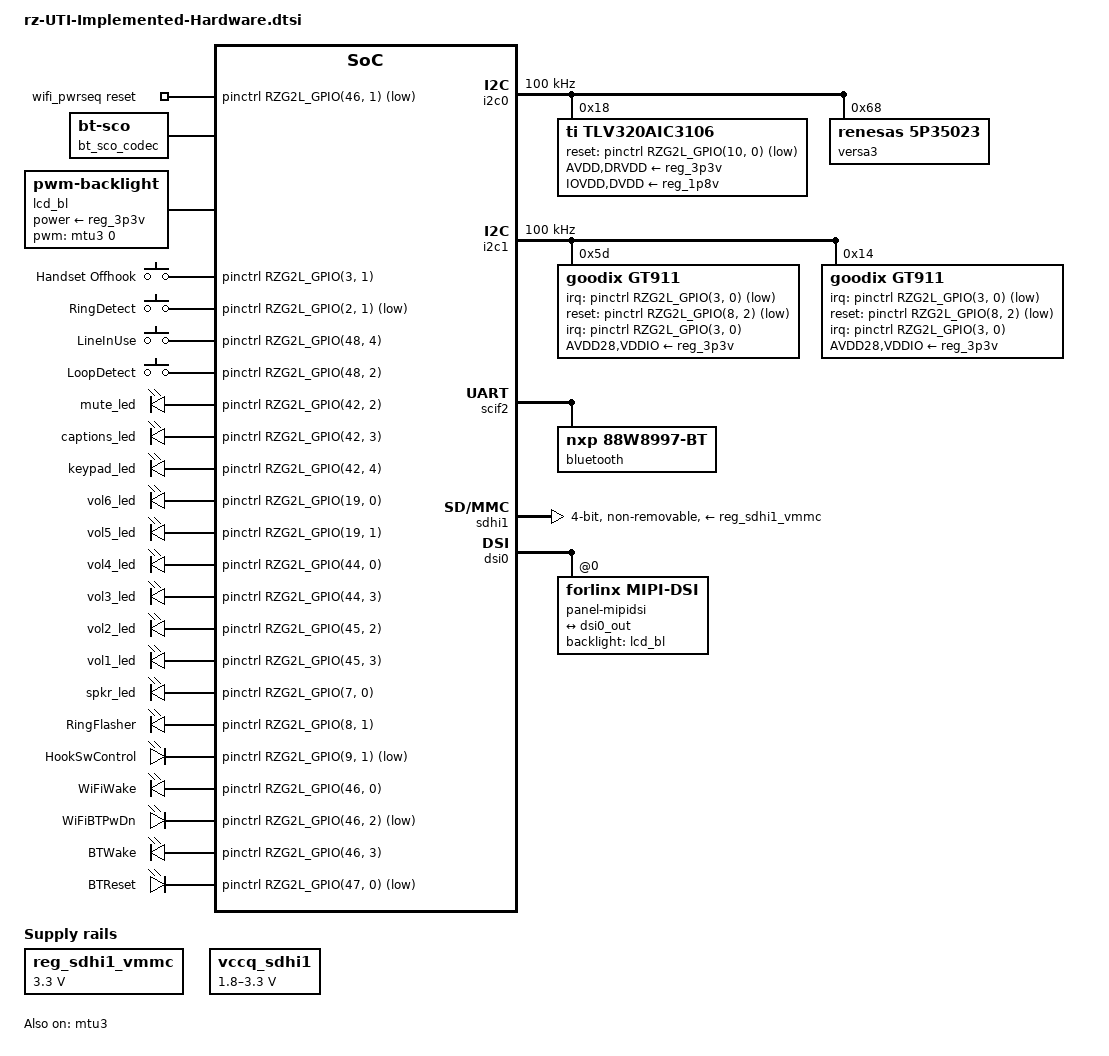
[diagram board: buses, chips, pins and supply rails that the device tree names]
// SPDX-License-Identifier: (GPL-2.0-only OR BSD-2-Clause)
/*
 * Device Tree Source for the RZ/{G2L,G2LC,V2L} SMARC EVK common parts
 *
 * Copyright (C) 2022 Renesas Electronics Corp.
 */

#include <dt-bindings/gpio/gpio.h>
#include <dt-bindings/pinctrl/rzg2l-pinctrl.h>


/ {
	aliases {
		serial0 = &scif0;
		i2c0 = &i2c0;
		i2c1 = &i2c1;
		i2c3 = &i2c3;
		mmc0 = &sdhi0;
		mmc1 = &sdhi1;
		dsi0 = &dsi0;
		du = &du;
		reg_1p8v = &reg_1p8v;
		reg_3p3v = &reg_3p3v;
	};

	chosen {
		stdout-path = "serial0:115200n8";
	};
	
	reg_sdhi1_vmmc: regulator-sdhi1 {
		compatible = "regulator-fixed";
		regulator-name = "WLAN_EN";
		regulator-min-microvolt = <3300000>;
		regulator-max-microvolt = <3300000>;
		//gpio = <&pinctrl RZG2L_GPIO(46, 0) GPIO_ACTIVE_HIGH>; // WiFi Wake 
		//enable-active-high;
		regulator-boot-on;
		regulator-always-on;
	};	
	
	wifi_pwrseq: wifi-pwrseq {
		compatible = "mmc-pwrseq-simple";
		pinctrl-names = "default";
		reset-gpios = <&pinctrl RZG2L_GPIO(46, 1) GPIO_ACTIVE_LOW>; // WiFi reset 
		post-power-on-delay-ms = <200>;
	};
	
	bt_sco_codec: bt_sco_codec {
		#sound-dai-cells = <1>;
		compatible = "linux,bt-sco";
	};
	
	sound-bt-sco {
		compatible = "simple-audio-card";
		simple-audio-card,name = "bt-sco-audio";
		simple-audio-card,format = "i2s";
		simple-audio-card,bitclock-inversion;
		simple-audio-card,frame-master = <&btcpu>;
		simple-audio-card,bitclock-master = <&btcpu>;

		btcpu: simple-audio-card,cpu {
			sound-dai = <&ssi1>;
			dai-tdm-slot-num = <2>;
			dai-tdm-slot-width = <16>;
			system-clock-frequency = <12288000>;
		};

		simple-audio-card,codec {
			sound-dai = <&bt_sco_codec 1>;
			system-clock-frequency = <12288000>;
		};
	};
	
	x1_clk: x1-clock {
		compatible = "fixed-clock";
		#clock-cells = <0>;
		clock-frequency = <24000000>;
	};
	
	/*lcd_bl: backlight {
		compatible = "gpio-backlight";
		gpios = <&pinctrl RZG2L_GPIO(9, 0) GPIO_ACTIVE_HIGH>;
		default-on;
	};*/
	
        lcd_bl: backlight {
		compatible = "pwm-backlight";
		pwms = <&mtu3 0 1200>;
		brightness-levels = <0 50 70 90 110 130 150 170 190 210 255>;
		default-brightness-level = <10>;
		power-supply = <&reg_3p3v>;
	};

/*
	gpio_keys { //this is for input GPIOs only
		compatible = "gpio-keys";
		#address-cells = <1>;
		#size-cells = <0>;
		pinctrl-0 = <&GPIO_Keys_IRQ_Pins>;
		autorepeat;
		
		HookSwitch {
			label = "Handset Offhook";
			linux,code = <0x07>;
			//wakeup-source;
            		//interrupt-parent = <&intc_ex>;
            		//gpios = <&pinctrl RZG2L_GPIO(3, 1) (GPIO_ACTIVE_LOW | GPIO_PULL_UP)>;
            		//irq-gpios = <&pinctrl RZG2L_GPIO(3, 1) (GPIO_ACTIVE_LOW | GPIO_PULL_UP)>;
            		//interrupts = <7 IRQ_TYPE_EDGE_BOTH>;
            		//linux,input-type = <5>; //EV_SW
			debounce-interval = <10>; 
		};	
		
		RingDetect {
			label = "RingDetect"; 
			linux,code = <0x08>;
			wakeup-source;
            		interrupt-parent = <&intc_ex>;
            		//gpios = <&pinctrl RZG2L_GPIO(2, 1) GPIO_ACTIVE_LOW>;
            		//irq-gpios = <&pinctrl RZG2L_GPIO(2, 1) GPIO_ACTIVE_LOW>;
            		interrupts = <5 IRQ_TYPE_EDGE_BOTH>;
            		//linux,input-type = <5>; //EV_SW
			debounce-interval = <1>;
		};
	};
	*/
	
	gpio_keys_polled { //this is for input GPIOs only
		compatible = "gpio-keys-polled";
		#address-cells = <1>;
		#size-cells = <0>;
		poll-interval = <1>; //milliseconds
		autorepeat;	
		
		HookSwitch {
			label = "Handset Offhook";
			linux,code = <0x07>;
			//wakeup-source;
            		//interrupt-parent = <&intc_ex>;
            		gpios = <&pinctrl RZG2L_GPIO(3, 1) (GPIO_ACTIVE_HIGH | GPIO_PULL_UP)>;
            		//irq-gpios = <&pinctrl RZG2L_GPIO(3, 1) (GPIO_ACTIVE_LOW | GPIO_PULL_UP)>;
            		//interrupts = <7 IRQ_TYPE_EDGE_BOTH>;
            		linux,input-type = <5>; //EV_SW
			debounce-interval = <10>; 
		};	
		
		RingDetect {
			label = "RingDetect"; 
			linux,code = <0x08>;
			//wakeup-source;
            		//interrupt-parent = <&intc_ex>;
            		gpios = <&pinctrl RZG2L_GPIO(2, 1) GPIO_ACTIVE_LOW>;
            		//irq-gpios = <&pinctrl RZG2L_GPIO(2, 1) GPIO_ACTIVE_LOW>;
            		//interrupts = <5 IRQ_TYPE_EDGE_BOTH>;
            		linux,input-type = <5>; //EV_SW
			debounce-interval = <1>;
		};
		
		LineInUse {
			label = "LineInUse"; 
			//linux,code = <0x90>;
			linux,code = <0x09>;
			//debounce-interval = <1>;
			linux,input-type = <5>; //EV_SW
			gpios = <&pinctrl RZG2L_GPIO(48, 4) GPIO_ACTIVE_HIGH>;
		};
		
		LoopDetect {
			label = "LoopDetect"; 
			//linux,code = <0x92>;
			linux,code = <0x0A>;
			//debounce-interval = <1>;
			linux,input-type = <5>; //EV_SW
			gpios = <&pinctrl RZG2L_GPIO(48, 2) GPIO_ACTIVE_HIGH>;
		};
	};
		
	/*
	matrix_keypad: matrix_keypad0 {
		compatible = "gpio-matrix-keypad";  
		debounce-delay-ms = <5>;
		col-scan-delay-us = <2>;
		//interrupt-parent = <&pinctrl>;
		interrupt-parent = <&intc_ex>;
		//pinctrl-names = "default";
		
		pinctrl-0 = <&keyboard_pins>;

		//gpio-activelow;
		//linux,wakeup;

		row-gpios = <	&pinctrl RZG2L_GPIO(0, 0) GPIO_ACTIVE_LOW
				&pinctrl RZG2L_GPIO(0, 1) GPIO_ACTIVE_LOW 
				&pinctrl RZG2L_GPIO(1, 0) GPIO_ACTIVE_LOW
				&pinctrl RZG2L_GPIO(1, 1) GPIO_ACTIVE_LOW
				&pinctrl RZG2L_GPIO(2, 0) GPIO_ACTIVE_LOW>;

		col-gpios = <	&pinctrl RZG2L_GPIO(12, 1) GPIO_ACTIVE_HIGH 
				&pinctrl RZG2L_GPIO(13, 0) GPIO_ACTIVE_HIGH 
				&pinctrl RZG2L_GPIO(13, 1) GPIO_ACTIVE_HIGH 
				&pinctrl RZG2L_GPIO(13, 2) GPIO_ACTIVE_HIGH>;			

		linux,keymap = <0x0000009A      // VOL UP /
				0x00010099      // VOL DN /
				//0x0002009F      //  /
				0x0003009E      // CSTSV /

				0x010000B1      // DTMF1 /
				0x010100B2      // DTMF2 /
				0x010200B3      // DTMF3 /
				0x0103009F      // HOME /

				0x020000B4      // DTMF4 /
				0x020100B5      // DTMF5 /
				0x020200B6      // DTMF6 /
				0x02030098      // CAPTION /

				0x030000B7      // DTMF7 /
				0x030100B8      // DTMF8 /
				0x030200B9      // DTMF9 /
				0x03030096      // SPKR /

				0x040000BA      // DTMF* /
				0x040100B0      // DTMF0 /
				0x040200BB      // DTMF# /
				0x04030097>;      // MUTE /
	};
	*/
	
	leds {
	       	compatible = "gpio-leds"; 

	       	mute_led {
		   	label = "mute_led";
		   	gpios = <&pinctrl RZG2L_GPIO(42, 2) GPIO_ACTIVE_HIGH>; //
		   	default-state = "off";	   
	       	};
	       
	       	captions_led {
		   	label = "captions_led";
		   	gpios = <&pinctrl RZG2L_GPIO(42, 3) GPIO_ACTIVE_HIGH>;
		   	default-state = "off";
	       	};

	       	keypad_led {
		   	label = "keypad_led";
		   	gpios = <&pinctrl RZG2L_GPIO(42, 4) GPIO_ACTIVE_HIGH>;
		   	default-state = "off";
   	    	};

		vol6_led {
		   	label = "vol6_led";
		   	gpios = <&pinctrl RZG2L_GPIO(19, 0) GPIO_ACTIVE_HIGH>; 
		   	default-state = "off";
		   	//linux,default-trigger = "timer";
	       	};

		vol5_led {
		   	label = "vol5_led";
		   	gpios = <&pinctrl RZG2L_GPIO(19, 1) GPIO_ACTIVE_HIGH>; 
		   	default-state = "off";
		   	//linux,default-trigger = "timer";
	       	};

		vol4_led {
		   	label = "vol4_led";
		   	gpios = <&pinctrl RZG2L_GPIO(44, 0) GPIO_ACTIVE_HIGH>;
		   	default-state = "off";
		   	//linux,default-trigger = "timer";
	       	};
		
		vol3_led {
		   	label = "vol3_led";
		   	gpios = <&pinctrl RZG2L_GPIO(44, 3) GPIO_ACTIVE_HIGH>;
		   	default-state = "off";
		   	//linux,default-trigger = "timer";
	       	};

		vol2_led {
		   	label = "vol2_led";
		   	gpios = <&pinctrl RZG2L_GPIO(45, 2) GPIO_ACTIVE_HIGH>;
		   	default-state = "off";
		   	//linux,default-trigger = "timer";
	       	};

		vol1_led {
		   	label = "vol1_led";
		   	gpios = <&pinctrl RZG2L_GPIO(45, 3) GPIO_ACTIVE_HIGH>;
		   	default-state = "off";
		   	//linux,default-trigger = "timer";
	       	};

	       	spkr_led {
		   	label = "spkr_led";
		   	gpios = <&pinctrl RZG2L_GPIO(7, 0) GPIO_ACTIVE_HIGH>; 
		   	default-state = "off";
		};
		
		RingFlasher {
			label = "RingFlasher";
	   		gpios = <&pinctrl RZG2L_GPIO(8, 1) GPIO_ACTIVE_HIGH>;  
	   		default-state = "off";
	   		//linux,default-trigger = "timer";
	   		//flash-max-timeout-us = <1000000>;
		};
		
		HookSwControl {
		        label = "HookSwControl";
		   	gpios = <&pinctrl RZG2L_GPIO(9, 1) GPIO_ACTIVE_LOW>; 
		   	default-state = "off";
		};
		
		//TEMPORARY??
		WIFI_WAKE {
		        label = "WiFiWake";
		   	gpios = <&pinctrl RZG2L_GPIO(46, 0) GPIO_ACTIVE_HIGH>;
		   	default-state = "on";
		};
		
		//TEMPORARY
		/*WIFI_RESET {
		        label = "WiFiReset";
		   	gpios = <&pinctrl RZG2L_GPIO(46, 1) GPIO_ACTIVE_LOW>;
		   	default-state = "off";
		};*/
		
		//TEMPORARY - this is for power savings, we could hog this high eventually
		WIFI_BT_PD {
		        label = "WiFiBTPwDn";
		   	gpios = <&pinctrl RZG2L_GPIO(46, 2) GPIO_ACTIVE_LOW>;
		   	default-state = "off";
		};
		
		//TEMPORARY?? there is a pending driver change that will facilitate this 
		BT_WAKE {
		        label = "BTWake";
		   	gpios = <&pinctrl RZG2L_GPIO(46, 3) GPIO_ACTIVE_HIGH>;
		   	default-state = "on";
		};
		
		//TEMPORARY?? this is controlled in app
		BT_RESET {
		        label = "BTReset";
		   	gpios = <&pinctrl RZG2L_GPIO(47, 0) GPIO_ACTIVE_LOW>;
		   	default-state = "on";
		};
   	};
   

	snd_rzg2l: sound {
		compatible = "simple-audio-card";
		simple-audio-card,format = "i2s";
		simple-audio-card,bitclock-master = <&cpu_dai>;
		simple-audio-card,frame-master = <&cpu_dai>;

		simple-audio-card,widgets = 
			"Speaker", "POTS Line Out",
			"Speaker", "Handset Speaker",			
			"Speaker", "External Speaker",			
			"Line", "POTS Line In",
			"Microphone", "Handset Mic";			
			//"Line", "External Mic"; 		
		simple-audio-card,routing = 
			"POTS Line Out",	"MONO_LOUT",
			"Handset Speaker",	"LLOUT",		
			"External Speaker",	"RLOUT",		
			"LINE2R",		"POTS Line In",
			"LINE1L",		"Handset Mic",		
			//"DMICR",		"External Mic",	
			"Handset Mic",		"Mic Bias";		

		cpu_dai: simple-audio-card,cpu {
			sound-dai = <&ssi0>;
			clocks = <&versa3 1>;
			system-clock-frequency = <12288000>;
		};

		sound0_master: simple-audio-card,codec {
			sound-dai = <&tlv320aic3106>;
			clocks = <&versa3 2>;
			system-clock-frequency = <12288000>;
		};
	};
	

	/*usb0_vbus_otg: regulator-usb0-vbus-otg {
		compatible = "regulator-fixed";

		regulator-name = "USB0_VBUS_OTG";
		regulator-min-microvolt = <5000000>;
		regulator-max-microvolt = <5000000>;
	};*/

	vccq_sdhi1: regulator-vccq-sdhi1 {
		compatible = "regulator-gpio";
		regulator-name = "SDHI1 VccQ";
		regulator-min-microvolt = <1800000>;
		regulator-max-microvolt = <3300000>;
		gpios-states = <1>;
		states = <3300000 1>, <1800000 0>;
	};
};


&i2c0 {
	pinctrl-0 = <&i2c0_pins>;
	pinctrl-names = "default";
	clock-frequency = <100000>;
	
	tlv320aic3106: tlv320aic3106@18 {
		#sound-dai-cells = <0>;
		compatible = "ti,tlv320aic3106";
		reg = <0x18>;
		status = "okay";
		ai3x-micbias-vg = <1>;
		ai3x-ocmv = <2>;
		reset-gpios = <&pinctrl RZG2L_GPIO(10, 0) GPIO_ACTIVE_LOW>;
		
		AVDD-supply = <&reg_3p3v>;
		IOVDD-supply = <&reg_1p8v>;
		DRVDD-supply = <&reg_3p3v>;
		DVDD-supply = <&reg_1p8v>;
	};
	
	versa3: versa3@68 {
		compatible = "renesas,5p35023";
		reg = <0x68>;
		#clock-cells = <1>;
		clocks = <&x1_clk>;
		clock-names = "x1";
		
		/*renesas,settings = [
			80 00 11 19 4c 02 23 7f 83 19 08 a9 5f 25 24 bf
			00 14 7a e1 00 00 00 00 01 55 59 bb 3f 30 90 b6
			80 b0 45 c4 95
		];*/
		
		//0 - REF, 1 - SE1, 2 - SE2, 3 - SE3, 4 - DIFF1, 5 - DIFF2.
		assigned-clocks = <&versa3 0>,
				   <&versa3 1>,
				   <&versa3 2>,
				   <&versa3 3>,
				   <&versa3 4>,
				   <&versa3 5>;
		/*assigned-clock-rates =	<24000000>, //REF
					<12288000>, //SE1 - AUDIO_CLK1
					<12288000>, //SE2 - AUDIO_MCK
					<25000000>, //SE3 - ETHERNET 
					<0>, //DIFF1 - unused
					<0>; //DIFF2 - unused*/
		//clock-divider-read-only = <1>, <1>, <1>, <1>, <1>;
		//clock-flags = <2176>, <2176>, <2176>, <2052>, <2176>, <2048>;
	};
};

&i2c1 {
        pinctrl-0 = <&i2c1_pins>;
	pinctrl-names = "default";
	clock-frequency = <100000>;
	
	gt911@5d {
		compatible = "goodix,gt911";
		reg = <0x5d>;
		interrupt-parent = <&pinctrl>;
		interrupts = <RZG2L_GPIO(3, 0) IRQ_TYPE_EDGE_FALLING>;
		irq-gpios = <&pinctrl RZG2L_GPIO(3, 0) GPIO_ACTIVE_LOW>;
		reset-gpios = <&pinctrl RZG2L_GPIO(8, 2) (GPIO_ACTIVE_LOW | GPIO_PULL_UP)>;	
		AVDD28-supply = <&reg_3p3v>;
		VDDIO-supply = <&reg_3p3v>;
		touchscreen-size-x = <1024>;
		touchscreen-size-y = <600>;	
		status = "okay";
      	};
      	
      	gt911@14 {
		compatible = "goodix,gt911";
		reg = <0x14>;
		interrupt-parent = <&pinctrl>;
		interrupts = <RZG2L_GPIO(3, 0) IRQ_TYPE_EDGE_FALLING>;
		irq-gpios = <&pinctrl RZG2L_GPIO(3, 0) GPIO_ACTIVE_LOW>;
		reset-gpios = <&pinctrl RZG2L_GPIO(8, 2) (GPIO_ACTIVE_LOW | GPIO_PULL_UP)>;	
		AVDD28-supply = <&reg_3p3v>;
		VDDIO-supply = <&reg_3p3v>;
		touchscreen-size-x = <1024>;
		touchscreen-size-y = <600>;	
		status = "okay";
      	};
      	
      	/*tsc2007@49 {
		compatible = "ti,tsc2007";
		reg = <0x49>;
		interrupt-parent = <&pinctrl>;
		interrupts = <0 IRQ_TYPE_EDGE_FALLING>;
		gpios = <&pinctrl RZG2L_GPIO(5, 2) GPIO_ACTIVE_LOW>;
		ti,x-plate-ohms = <180>;
	};*/
	
	//add digital POT
};

&scif0 {
	pinctrl-0 = <&scif0_pins>;
	pinctrl-names = "default";
};

&scif2 { //bluetooth communication
	pinctrl-0 = <&scif2_pins>;
	pinctrl-names = "default";

	uart-has-rtscts;
	
	bluetooth {
		compatible = "nxp,88w8997-bt";
		fw-init-baudrate = <3000000>;
		//device-wakeup-gpios = <&pinctrl RZG2L_GPIO(46, 3) GPIO_ACTIVE_HIGH>; add in when driver is patched
		status = "okay";
	};	
};

&sdhi1 { //wifi
	pinctrl-0 = <&sdhi1_pins>;
	pinctrl-1 = <&sdhi1_pins_uhs>;
	pinctrl-names = "default", "state_uhs";
	mmc-pwrseq = <&wifi_pwrseq>; 
	vqmmc-supply = <&vccq_sdhi1>;
	vmmc-supply = <&reg_sdhi1_vmmc>;

	keep-power-in-suspend;
	non-removable;
	//wakeup-source;
	//fsl,sdio-async-interrupt-enabled;

	bus-width = <4>;
	#address-cells = <1>;
	#size-cells = <0>;
	
	/*wifi_wake_host {
		compatible = "nxp,wifi-wake-host";
		interrupts-extended = <&main_gpio0 16 IRQ_TYPE_EDGE_FALLING>; 
		interrupt-names = "host-wake";
		laird,regdomain = "US";
	};*/
};

&ssi0 { //codec audio
	pinctrl-0 = <&ssi0_pins>;
	pinctrl-names = "default";
};

&ssi1 { //bluetooth audio
	pinctrl-0 = <&ssi1_pins>;
	pinctrl-names = "default";
};

&dsi0 {	
	#address-cells = <1>;
	#size-cells = <0>;
	
	panel-mipidsi@0 {
	        compatible = "forlinx,mipi-dsi";

	        reg = <0>;
	        dsi-lanes = <4>;
	        video-mode = <2>;	/* 0: burst mode
				         * 1: non-burst mode with sync event
				         * 2: non-burst mode with sync pulse
				         */
	        panel-width-mm = <68>;
	        panel-height-mm = <121>;
	        backlight = <&lcd_bl>;
	        status = "okay";

	        display-timings { //kernel

		        panel7_1024x600_kernel: timings {
			        hback-porch     = <88>;
			        hfront-porch    = <40>;
			        hactive         = <1024>;
			        hsync-len       = <48>;
			        vback-porch     = <32>;
			        vfront-porch    = <13>;
			        vactive         = <600>;
			        vsync-len       = <3>;
			        clock-frequency = <58000000>;
			        vsync-active    = <0>;
			        hsync-active    = <0>;
			        de-active       = <0>;
			        pixelclk-active = <0>;
		        };

	        };
	        
	        ports {
		        #address-cells = <1>;
		        #size-cells = <0>;

	                port@0 {			
			        reg = <0>;
			        //dual-lvds-odd-pixels;
			        panel_in: endpoint {
				        remote-endpoint = <&dsi0_out>;
			        };
		        };
		};
	};	
};


&mtu3 {
	pinctrl-0 = <&mtu3_pins>;
	pinctrl-names = "default";
	#pwm-cells = <2>;
	
	pwm_mode1 = <2 0>; //MTIOC2A

        status = "okay";
};



